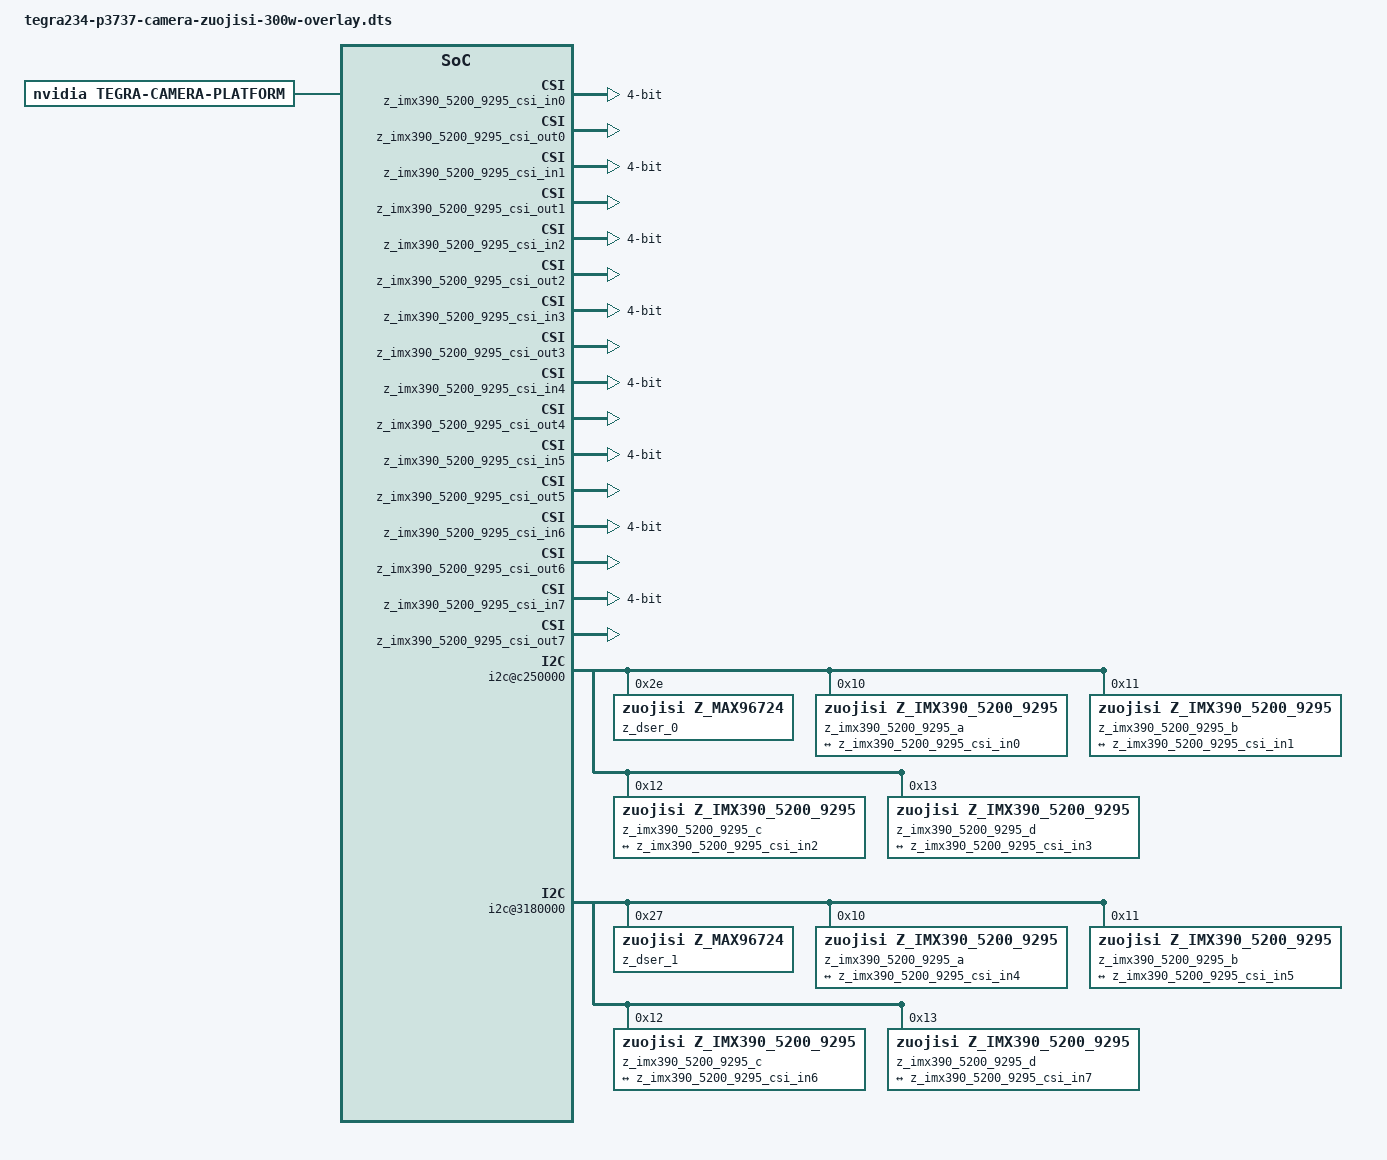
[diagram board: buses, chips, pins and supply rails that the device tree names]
// SPDX-License-Identifier: GPL-2.0-only
// SPDX-FileCopyrightText: Copyright (c) 2018-2023, NVIDIA CORPORATION & AFFILIATES. All rights reserved.

/dts-v1/;
/plugin/;

#define CAM0_RST    TEGRA234_MAIN_GPIO(H, 3)
#define CAM0_PWDN    TEGRA234_MAIN_GPIO(H, 6)
#define CAM1_PWDN    TEGRA234_MAIN_GPIO(AC, 0)
#define CAM_I2C_MUX     TEGRA234_AON_GPIO(CC, 3)

#include <dt-bindings/tegra234-p3767-0000-common.h>

/ {
    overlay-name = "AIU-100 300W Camera";
    jetson-header-name = "Jetson AGX CSI Connector";
    compatible = JETSON_COMPATIBLE;

	fragment@0 {
		target-path = "/";

		__overlay__ {
			zuojisi {
				base {
					label = "xcbase 20250517";
				};
				branch {
					label = "CIG AIU-100 with 300W camera";
				};
			};
			tegra-capture-vi {
				num-channels = <12>;
				ports {
					#address-cells = <1>;
					#size-cells = <0>;
					status = "okay";
					port@0 {
						status = "okay";
						reg = <0>;
						z_imx390_5200_9295_vi_in0: endpoint {
							status = "okay";
							vc-id = <0>;
							port-index = <5>;
							bus-width = <4>;
							remote-endpoint = <&z_imx390_5200_9295_csi_out0>;
						};
					};
					port@1 {
						status = "okay";
						reg = <1>;
						z_imx390_5200_9295_vi_in1: endpoint {
							status = "okay";
							vc-id = <1>;
							port-index = <5>;
							bus-width = <4>;
							remote-endpoint = <&z_imx390_5200_9295_csi_out1>;
						};
					};
					port@2 {
						status = "okay";
						reg = <2>;
						z_imx390_5200_9295_vi_in2: endpoint {
							status = "okay";
							vc-id = <2>;
							port-index = <5>;
							bus-width = <4>;
							remote-endpoint = <&z_imx390_5200_9295_csi_out2>;
						};
					};
					port@3 {
						status = "okay";
						reg = <3>;
						z_imx390_5200_9295_vi_in3: endpoint {
							status = "okay";
							vc-id = <3>;
							port-index = <5>;
							bus-width = <4>;
							remote-endpoint = <&z_imx390_5200_9295_csi_out3>;
						};
					};

					port@4 {
						status = "okay";
						reg = <4>;
						z_imx390_5200_9295_vi_in4: endpoint {
							status = "okay";
							vc-id = <0>;
							port-index = <2>;
							bus-width = <4>;
							remote-endpoint = <&z_imx390_5200_9295_csi_out4>;
						};
					};
					port@5 {
						status = "okay";
						reg = <5>;
						z_imx390_5200_9295_vi_in5: endpoint {
							status = "okay";
							vc-id = <1>;
							port-index = <2>;
							bus-width = <4>;
							remote-endpoint = <&z_imx390_5200_9295_csi_out5>;
						};
					};
					port@6 {
						status = "okay";
						reg = <6>;
						z_imx390_5200_9295_vi_in6: endpoint {
							status = "okay";
							vc-id = <2>;
							port-index = <2>;
							bus-width = <4>;
							remote-endpoint = <&z_imx390_5200_9295_csi_out6>;
						};
					};
					port@7 {
						status = "okay";
						reg = <7>;
						z_imx390_5200_9295_vi_in7: endpoint {
							status = "okay";
							vc-id = <3>;
							port-index = <2>;
							bus-width = <4>;
							remote-endpoint = <&z_imx390_5200_9295_csi_out7>;
						};
					};

				};
			};
			tegra-camera-platform {
				compatible = "nvidia, tegra-camera-platform";
				num_csi_lanes = <16>;
				max_lane_speed = <1500000>;
				min_bits_per_pixel = <10>;
				vi_peak_byte_per_pixel = <2>;
				vi_bw_margin_pct = <25>;
				max_pixel_rate = <7500000>;
				isp_peak_byte_per_pixel = <5>;
				isp_bw_margin_pct = <25>;
			};
			bus@0{
				host1x@13e00000 {
					nvcsi@15a00000 {
						num-channels = <8>;
						#address-cells = <1>;
						#size-cells = <0>;
						channel@0 {
							status = "okay";
							reg = <0>;
							ports {
								status = "okay";
								#address-cells = <1>;
								#size-cells = <0>;
								port@0 {
									status = "okay";
									reg = <0>;
									z_imx390_5200_9295_csi_in0: endpoint@0 {
										status = "okay";
										port-index = <6>;
										bus-width = <4>;
										remote-endpoint = <&z_imx390_5200_9295_cam_out0>;
									};
								};
								port@1 {
									status = "okay";
									reg = <1>;
									z_imx390_5200_9295_csi_out0: endpoint@1 {
										status = "okay";
										remote-endpoint = <&z_imx390_5200_9295_vi_in0>;
									};
								};
							};
						};
						channel@1 {
							status = "okay";
							reg = <1>;
							ports {
								status = "okay";
								#address-cells = <1>;
								#size-cells = <0>;
								port@0 {
									status = "okay";
									reg = <0>;
									z_imx390_5200_9295_csi_in1: endpoint@2 {
										status = "okay";
										port-index = <6>;
										bus-width = <4>;
										remote-endpoint = <&z_imx390_5200_9295_cam_out1>;
									};
								};
								port@1 {
									status = "okay";
									reg = <1>;
									z_imx390_5200_9295_csi_out1: endpoint@3 {
										status = "okay";
										remote-endpoint = <&z_imx390_5200_9295_vi_in1>;
									};
								};
							};
						};
						channel@2 {
							status = "okay";
							reg = <2>;
							ports {
								status = "okay";
								#address-cells = <1>;
								#size-cells = <0>;
								port@0 {
									status = "okay";
									reg = <0>;
									z_imx390_5200_9295_csi_in2: endpoint@4 {
										status = "okay";
										port-index = <6>;
										bus-width = <4>;
										remote-endpoint = <&z_imx390_5200_9295_cam_out2>;
									};
								};
								port@1 {
									status = "okay";
									reg = <1>;
									z_imx390_5200_9295_csi_out2: endpoint@5 {
										status = "okay";
										remote-endpoint = <&z_imx390_5200_9295_vi_in2>;
									};
								};
							};
						};
						channel@3 {
							status = "okay";
							reg = <3>;
							ports {
								status = "okay";
								#address-cells = <1>;
								#size-cells = <0>;
								port@0 {
									status = "okay";
									reg = <0>;
									z_imx390_5200_9295_csi_in3: endpoint@6 {
										status = "okay";
										port-index = <6>;
										bus-width = <4>;
										remote-endpoint = <&z_imx390_5200_9295_cam_out3>;
									};
								};
								port@1 {
									status = "okay";
									reg = <1>;
									z_imx390_5200_9295_csi_out3: endpoint@7 {
										status = "okay";
										remote-endpoint = <&z_imx390_5200_9295_vi_in3>;
									};
								};
							};
						};
						channel@4 {
							status = "okay";
							reg = <4>;
							ports {
								status = "okay";
								#address-cells = <1>;
								#size-cells = <0>;
								port@0 {
									status = "okay";
									reg = <0>;
									z_imx390_5200_9295_csi_in4: endpoint@8 {
										status = "okay";
										port-index = <2>;
										bus-width = <4>;
										remote-endpoint = <&z_imx390_5200_9295_cam_out4>;
									};
								};
								port@1 {
									status = "okay";
									reg = <1>;
									z_imx390_5200_9295_csi_out4: endpoint@9 {
										status = "okay";
										remote-endpoint = <&z_imx390_5200_9295_vi_in4>;
									};
								};
							};
						};
						channel@5 {
							status = "okay";
							reg = <5>;
							ports {
								status = "okay";
								#address-cells = <1>;
								#size-cells = <0>;
								port@0 {
									status = "okay";
									reg = <0>;
									z_imx390_5200_9295_csi_in5: endpoint@10 {
										status = "okay";
										port-index = <2>;
										bus-width = <4>;
										remote-endpoint = <&z_imx390_5200_9295_cam_out5>;
									};
								};
								port@1 {
									status = "okay";
									reg = <1>;
									z_imx390_5200_9295_csi_out5: endpoint@11 {
										status = "okay";
										remote-endpoint = <&z_imx390_5200_9295_vi_in5>;
									};
								};
							};
						};
						channel@6 {
							status = "okay";
							reg = <6>;
							ports {
								status = "okay";
								#address-cells = <1>;
								#size-cells = <0>;
								port@0 {
									status = "okay";
									reg = <0>;
									z_imx390_5200_9295_csi_in6: endpoint@12 {
										status = "okay";
										port-index = <2>;
										bus-width = <4>;
										remote-endpoint = <&z_imx390_5200_9295_cam_out6>;
									};
								};
								port@1 {
									status = "okay";
									reg = <1>;
									z_imx390_5200_9295_csi_out6: endpoint@13 {
										status = "okay";
										remote-endpoint = <&z_imx390_5200_9295_vi_in6>;
									};
								};
							};
						};
						channel@7 {
							status = "okay";
							reg = <7>;
							ports {
								status = "okay";
								#address-cells = <1>;
								#size-cells = <0>;
								port@0 {
									status = "okay";
									reg = <0>;
									z_imx390_5200_9295_csi_in7: endpoint@14 {
										status = "okay";
										port-index = <2>;
										bus-width = <4>;
										remote-endpoint = <&z_imx390_5200_9295_cam_out7>;
									};
								};
								port@1 {
									status = "okay";
									reg = <1>;
									z_imx390_5200_9295_csi_out7: endpoint@15 {
										status = "okay";
										remote-endpoint = <&z_imx390_5200_9295_vi_in7>;
									};
								};
							};
						};

					};
				};

				i2c@c250000 {
					z_dser_0: z_max96724 {
						status = "okay";
						compatible = "zuojisi,z_max96724";
						reg = <0x2e>;
					};
					z_imx390_5200_9295_a {
						status = "okay";
						def-addr = <0x50>; /* actual i2c address of imx390 */
						nvidia,gmsl-dser-device = <&z_dser_0>;
						des-link = "A";

						compatible = "zuojisi,z_imx390_5200_9295";
						reg = <0x10>; /* 9295 will translate to this i2c address */

						physical_w = "15.0";
						physical_h = "12.5";
						sensor_model ="imx390";
						post_crop_frame_drop = "0";
						use_decibel_gain = "true";

						/* enable CID_SENSOR_MODE_ID for sensor modes selection */
						use_sensor_mode_id = "true";

						mode0 {
							mclk_khz = "24000";
							num_lanes = "4";
							tegra_sinterface = "serial_g";
							vc_id = "0";
									phy_mode = "DPHY";
							discontinuous_clk = "no";
							dpcm_enable = "false";
							cil_settletime = "0";
							dynamic_pixel_bit_depth = "16";
							csi_pixel_bit_depth = "16"; 
							mode_type = "yuv";
							pixel_phase = "uyvy";

							active_w = "1920";
							active_h = "1536";
							readout_orientation = "0";
							line_length = "2200";
							inherent_gain = "1";
							pix_clk_hz = "165000000";
							serdes_pix_clk_hz = "800000000";

							gain_factor = "10";
							min_gain_val = "0"; /* dB */
							max_gain_val = "420"; /* dB */
							step_gain_val = "3"; /* 0.3 */
							default_gain = "150";
							min_hdr_ratio = "1";
							max_hdr_ratio = "1";
							framerate_factor = "1000000";
							min_framerate = "30000000";
							max_framerate = "30000000";
							step_framerate = "1";
							default_framerate = "30000000";
							exposure_factor = "1000000";
							min_exp_time = "59"; /*us, 2 lines*/
							max_exp_time = "33333";
							step_exp_time = "1";
							default_exp_time = "33333";/* us */
							embedded_metadata_height = "0";
						};
						ports {
							#address-cells = <1>;
							#size-cells = <0>;
							port@0 {
								reg = <0>;
								z_imx390_5200_9295_cam_out0: endpoint {
									vc-id = <0>;
									port-index = <6>;
									bus-width = <4>;
									remote-endpoint = <&z_imx390_5200_9295_csi_in0>;
								};
							};
						};
						gmsl-link {
							num-ser-lanes = <4>;
							streams = "yuv16";
						};
					};
					z_imx390_5200_9295_b {
						status = "okay";
						def-addr = <0x50>; /* actual i2c address of imx390 */
						nvidia,gmsl-dser-device = <&z_dser_0>;
						des-link = "B";
						compatible = "zuojisi,z_imx390_5200_9295";

						reg = <0x11>; /* 9295 will translate to this i2c address */

						physical_w = "15.0";
						physical_h = "12.5";
						sensor_model ="imx390";
						post_crop_frame_drop = "0";
						use_decibel_gain = "true";

						/* enable CID_SENSOR_MODE_ID for sensor modes selection */
						use_sensor_mode_id = "true";

						mode0 {
							mclk_khz = "24000";
							num_lanes = "4";
							tegra_sinterface = "serial_g";
							vc_id = "1";
									phy_mode = "DPHY";
							discontinuous_clk = "no";
							dpcm_enable = "false";
							cil_settletime = "0";
							dynamic_pixel_bit_depth = "16";
							csi_pixel_bit_depth = "16"; 
							mode_type = "yuv";
							pixel_phase = "uyvy";

							active_w = "1920";
							active_h = "1536";
							readout_orientation = "0";
							line_length = "2200";
							inherent_gain = "1";
							pix_clk_hz = "165000000";
							serdes_pix_clk_hz = "800000000";

							gain_factor = "10";
							min_gain_val = "0"; /* dB */
							max_gain_val = "420"; /* dB */
							step_gain_val = "3"; /* 0.3 */
							default_gain = "150";
							min_hdr_ratio = "1";
							max_hdr_ratio = "1";
							framerate_factor = "1000000";
							min_framerate = "30000000";
							max_framerate = "30000000";
							step_framerate = "1";
							default_framerate = "30000000";
							exposure_factor = "1000000";
							min_exp_time = "59"; /*us, 2 lines*/
							max_exp_time = "33333";
							step_exp_time = "1";
							default_exp_time = "33333";/* us */
							embedded_metadata_height = "0";
						};
						ports {
							#address-cells = <1>;
							#size-cells = <0>;
							port@0 {
								reg = <0>;
								z_imx390_5200_9295_cam_out1: endpoint {
									vc-id = <1>;
									port-index = <6>;
									bus-width = <4>;
									remote-endpoint = <&z_imx390_5200_9295_csi_in1>;
								};
							};
						};
						gmsl-link {
							num-ser-lanes = <4>;
							streams = "yuv16";
						};
					};
					z_imx390_5200_9295_c {
						status = "okay";
						def-addr = <0x50>; /* actual i2c address of imx390 */
						nvidia,gmsl-dser-device = <&z_dser_0>;
						des-link = "C";
						compatible = "zuojisi,z_imx390_5200_9295";

						reg = <0x12>; /* 9295 will translate to this i2c address */

						physical_w = "15.0";
						physical_h = "12.5";
						sensor_model ="imx390";
						post_crop_frame_drop = "0";
						use_decibel_gain = "true";

						/* enable CID_SENSOR_MODE_ID for sensor modes selection */
						use_sensor_mode_id = "true";

						mode0 {
							mclk_khz = "24000";
							num_lanes = "4";
							tegra_sinterface = "serial_g";
							vc_id = "2";
									phy_mode = "DPHY";
							discontinuous_clk = "no";
							dpcm_enable = "false";
							cil_settletime = "0";
							dynamic_pixel_bit_depth = "16";
							csi_pixel_bit_depth = "16"; 
							mode_type = "yuv";
							pixel_phase = "uyvy";

							active_w = "1920";
							active_h = "1536";
							readout_orientation = "0";
							line_length = "2200";
							inherent_gain = "1";
							pix_clk_hz = "165000000";
							serdes_pix_clk_hz = "800000000";

							gain_factor = "10";
							min_gain_val = "0"; /* dB */
							max_gain_val = "420"; /* dB */
							step_gain_val = "3"; /* 0.3 */
							default_gain = "150";
							min_hdr_ratio = "1";
							max_hdr_ratio = "1";
							framerate_factor = "1000000";
							min_framerate = "30000000";
							max_framerate = "30000000";
							step_framerate = "1";
							default_framerate = "30000000";
							exposure_factor = "1000000";
							min_exp_time = "59"; /*us, 2 lines*/
							max_exp_time = "33333";
							step_exp_time = "1";
							default_exp_time = "33333";/* us */
							embedded_metadata_height = "0";
						};
						ports {
							#address-cells = <1>;
							#size-cells = <0>;
							port@0 {
								reg = <0>;
								z_imx390_5200_9295_cam_out2: endpoint {
									vc-id = <2>;
									port-index = <6>;
									bus-width = <4>;
									remote-endpoint = <&z_imx390_5200_9295_csi_in2>;
								};
							};
						};
						gmsl-link {
							num-ser-lanes = <4>;
							streams = "yuv16";
						};
					};
					z_imx390_5200_9295_d {
						status = "okay";
						def-addr = <0x50>; /* actual i2c address of imx390 */
						nvidia,gmsl-dser-device = <&z_dser_0>;
						des-link = "D";
						compatible = "zuojisi,z_imx390_5200_9295";

						reg = <0x13>; /* 9295 will translate to this i2c address */

						physical_w = "15.0";
						physical_h = "12.5";
						sensor_model ="imx390";
						post_crop_frame_drop = "0";
						use_decibel_gain = "true";

						/* enable CID_SENSOR_MODE_ID for sensor modes selection */
						use_sensor_mode_id = "true";

						mode0 {
							mclk_khz = "24000";
							num_lanes = "4";
							tegra_sinterface = "serial_g";
							vc_id = "3";
							phy_mode = "DPHY";
							discontinuous_clk = "no";
							dpcm_enable = "false";
							cil_settletime = "0";
							dynamic_pixel_bit_depth = "16";
							csi_pixel_bit_depth = "16"; 
							mode_type = "yuv";
							pixel_phase = "uyvy";

							active_w = "1920";
							active_h = "1536";
							readout_orientation = "0";
							line_length = "2200";
							inherent_gain = "1";
							pix_clk_hz = "165000000";
							serdes_pix_clk_hz = "800000000";

							gain_factor = "10";
							min_gain_val = "0"; /* dB */
							max_gain_val = "420"; /* dB */
							step_gain_val = "3"; /* 0.3 */
							default_gain = "150";
							min_hdr_ratio = "1";
							max_hdr_ratio = "1";
							framerate_factor = "1000000";
							min_framerate = "30000000";
							max_framerate = "30000000";
							step_framerate = "1";
							default_framerate = "30000000";
							exposure_factor = "1000000";
							min_exp_time = "59"; /*us, 2 lines*/
							max_exp_time = "33333";
							step_exp_time = "1";
							default_exp_time = "33333";/* us */
							embedded_metadata_height = "0";
						};
						ports {
							#address-cells = <1>;
							#size-cells = <0>;
							port@0 {
								reg = <0>;
								z_imx390_5200_9295_cam_out3: endpoint {
									vc-id = <3>;
									port-index = <6>;
									bus-width = <4>;
									remote-endpoint = <&z_imx390_5200_9295_csi_in3>;
								};
							};
						};
						gmsl-link {
							num-ser-lanes = <4>;
							streams = "yuv16";
						};
					};
				};

				i2c@3180000 {
					z_dser_1: z_max96724 {
						status = "okay";
						compatible = "zuojisi,z_max96724";
						reg = <0x27>;
						is-master;
					};
					z_imx390_5200_9295_a {
						status = "okay";
						def-addr = <0x50>; /* actual i2c address of imx390 */
						nvidia,gmsl-dser-device = <&z_dser_1>;
						des-link = "A";

						compatible = "zuojisi,z_imx390_5200_9295";
						reg = <0x10>; /* 9295 will translate to this i2c address */

						physical_w = "15.0";
						physical_h = "12.5";
						sensor_model ="imx390";
						post_crop_frame_drop = "0";
						use_decibel_gain = "true";

						/* enable CID_SENSOR_MODE_ID for sensor modes selection */
						use_sensor_mode_id = "true";

						mode0 {
							mclk_khz = "24000";
							num_lanes = "4";
							tegra_sinterface = "serial_c";
							vc_id = "0";
									phy_mode = "DPHY";
							discontinuous_clk = "no";
							dpcm_enable = "false";
							cil_settletime = "0";
							dynamic_pixel_bit_depth = "16";
							csi_pixel_bit_depth = "16"; 
							mode_type = "yuv";
							pixel_phase = "uyvy";

							active_w = "1920";
							active_h = "1536";
							readout_orientation = "0";
							line_length = "2200";
							inherent_gain = "1";
							pix_clk_hz = "165000000";
							serdes_pix_clk_hz = "800000000";

							gain_factor = "10";
							min_gain_val = "0"; /* dB */
							max_gain_val = "420"; /* dB */
							step_gain_val = "3"; /* 0.3 */
							default_gain = "150";
							min_hdr_ratio = "1";
							max_hdr_ratio = "1";
							framerate_factor = "1000000";
							min_framerate = "30000000";
							max_framerate = "30000000";
							step_framerate = "1";
							default_framerate = "30000000";
							exposure_factor = "1000000";
							min_exp_time = "59"; /*us, 2 lines*/
							max_exp_time = "33333";
							step_exp_time = "1";
							default_exp_time = "33333";/* us */
							embedded_metadata_height = "0";
						};
						ports {
							#address-cells = <1>;
							#size-cells = <0>;
							port@0 {
								reg = <0>;
								z_imx390_5200_9295_cam_out4: endpoint {
									vc-id = <0>;
									port-index = <2>;
									bus-width = <4>;
									remote-endpoint = <&z_imx390_5200_9295_csi_in4>;
								};
							};
						};
						gmsl-link {
							num-ser-lanes = <4>;
							streams = "yuv16";
						};
					};
					z_imx390_5200_9295_b {
						status = "okay";
						def-addr = <0x50>; /* actual i2c address of imx390 */
						nvidia,gmsl-dser-device = <&z_dser_1>;
						des-link = "B";
						compatible = "zuojisi,z_imx390_5200_9295";

						reg = <0x11>; /* 9295 will translate to this i2c address */

						physical_w = "15.0";
						physical_h = "12.5";
						sensor_model ="imx390";
						post_crop_frame_drop = "0";
						use_decibel_gain = "true";

						/* enable CID_SENSOR_MODE_ID for sensor modes selection */
						use_sensor_mode_id = "true";

						mode0 {
							mclk_khz = "24000";
							num_lanes = "4";
							tegra_sinterface = "serial_c";
							vc_id = "1";
							phy_mode = "DPHY";
							discontinuous_clk = "no";
							dpcm_enable = "false";
							cil_settletime = "0";
							dynamic_pixel_bit_depth = "16";
							csi_pixel_bit_depth = "16"; 
							mode_type = "yuv";
							pixel_phase = "uyvy";

							active_w = "1920";
							active_h = "1536";
							readout_orientation = "0";
							line_length = "2200";
							inherent_gain = "1";
							pix_clk_hz = "165000000";
							serdes_pix_clk_hz = "800000000";

							gain_factor = "10";
							min_gain_val = "0"; /* dB */
							max_gain_val = "420"; /* dB */
							step_gain_val = "3"; /* 0.3 */
							default_gain = "150";
							min_hdr_ratio = "1";
							max_hdr_ratio = "1";
							framerate_factor = "1000000";
							min_framerate = "30000000";
							max_framerate = "30000000";
							step_framerate = "1";
							default_framerate = "30000000";
							exposure_factor = "1000000";
							min_exp_time = "59"; /*us, 2 lines*/
							max_exp_time = "33333";
							step_exp_time = "1";
							default_exp_time = "33333";/* us */
							embedded_metadata_height = "0";
						};
						ports {
							#address-cells = <1>;
							#size-cells = <0>;
							port@0 {
								reg = <0>;
								z_imx390_5200_9295_cam_out5: endpoint {
									vc-id = <1>;
									port-index = <2>;
									bus-width = <4>;
									remote-endpoint = <&z_imx390_5200_9295_csi_in5>;
								};
							};
						};
						gmsl-link {
							num-ser-lanes = <4>;
							streams = "yuv16";
						};
					};
					z_imx390_5200_9295_c {
						status = "okay";
						def-addr = <0x50>; /* actual i2c address of imx390 */
						nvidia,gmsl-dser-device = <&z_dser_1>;
						des-link = "C";
						compatible = "zuojisi,z_imx390_5200_9295";

						reg = <0x12>; /* 9295 will translate to this i2c address */

						physical_w = "15.0";
						physical_h = "12.5";
						sensor_model ="imx390";
						post_crop_frame_drop = "0";
						use_decibel_gain = "true";

						/* enable CID_SENSOR_MODE_ID for sensor modes selection */
						use_sensor_mode_id = "true";

						mode0 {
							mclk_khz = "24000";
							num_lanes = "4";
							tegra_sinterface = "serial_c";
							vc_id = "2";
									phy_mode = "DPHY";
							discontinuous_clk = "no";
							dpcm_enable = "false";
							cil_settletime = "0";
							dynamic_pixel_bit_depth = "16";
							csi_pixel_bit_depth = "16"; 
							mode_type = "yuv";
							pixel_phase = "uyvy";

							active_w = "1920";
							active_h = "1536";
							readout_orientation = "0";
							line_length = "2200";
							inherent_gain = "1";
							pix_clk_hz = "165000000";
							serdes_pix_clk_hz = "800000000";

							gain_factor = "10";
							min_gain_val = "0"; /* dB */
							max_gain_val = "420"; /* dB */
							step_gain_val = "3"; /* 0.3 */
							default_gain = "150";
							min_hdr_ratio = "1";
							max_hdr_ratio = "1";
							framerate_factor = "1000000";
							min_framerate = "30000000";
							max_framerate = "30000000";
							step_framerate = "1";
							default_framerate = "30000000";
							exposure_factor = "1000000";
							min_exp_time = "59"; /*us, 2 lines*/
							max_exp_time = "33333";
							step_exp_time = "1";
							default_exp_time = "33333";/* us */
							embedded_metadata_height = "0";
						};
						ports {
							#address-cells = <1>;
							#size-cells = <0>;
							port@0 {
								reg = <0>;
								z_imx390_5200_9295_cam_out6: endpoint {
									vc-id = <2>;
									port-index = <2>;
									bus-width = <4>;
									remote-endpoint = <&z_imx390_5200_9295_csi_in6>;
								};
							};
						};
						gmsl-link {
							num-ser-lanes = <4>;
							streams = "yuv16";
						};
					};
					z_imx390_5200_9295_d {
						status = "okay";
						def-addr = <0x50>; /* actual i2c address of imx390 */
						nvidia,gmsl-dser-device = <&z_dser_1>;
						des-link = "D";
						compatible = "zuojisi,z_imx390_5200_9295";

						reg = <0x13>; /* 9295 will translate to this i2c address */

						physical_w = "15.0";
						physical_h = "12.5";
						sensor_model ="imx390";
						post_crop_frame_drop = "0";
						use_decibel_gain = "true";

						/* enable CID_SENSOR_MODE_ID for sensor modes selection */
						use_sensor_mode_id = "true";

						mode0 {
							mclk_khz = "24000";
							num_lanes = "4";
							tegra_sinterface = "serial_c";
							vc_id = "3";
									phy_mode = "DPHY";
							discontinuous_clk = "no";
							dpcm_enable = "false";
							cil_settletime = "0";
							dynamic_pixel_bit_depth = "16";
							csi_pixel_bit_depth = "16"; 
							mode_type = "yuv";
							pixel_phase = "uyvy";

							active_w = "1920";
							active_h = "1536";
							readout_orientation = "0";
							line_length = "2200";
							inherent_gain = "1";
							pix_clk_hz = "165000000";
							serdes_pix_clk_hz = "800000000";

							gain_factor = "10";
							min_gain_val = "0"; /* dB */
							max_gain_val = "420"; /* dB */
							step_gain_val = "3"; /* 0.3 */
							default_gain = "150";
							min_hdr_ratio = "1";
							max_hdr_ratio = "1";
							framerate_factor = "1000000";
							min_framerate = "30000000";
							max_framerate = "30000000";
							step_framerate = "1";
							default_framerate = "30000000";
							exposure_factor = "1000000";
							min_exp_time = "59"; /*us, 2 lines*/
							max_exp_time = "33333";
							step_exp_time = "1";
							default_exp_time = "33333";/* us */
							embedded_metadata_height = "0";
						};
						ports {
							#address-cells = <1>;
							#size-cells = <0>;
							port@0 {
								reg = <0>;
								z_imx390_5200_9295_cam_out7: endpoint {
									vc-id = <3>;
									port-index = <2>;
									bus-width = <4>;
									remote-endpoint = <&z_imx390_5200_9295_csi_in7>;
								};
							};
						};
						gmsl-link {
							num-ser-lanes = <4>;
							streams = "yuv16";
						};
					};
				};
			};				
		};
	};
};
